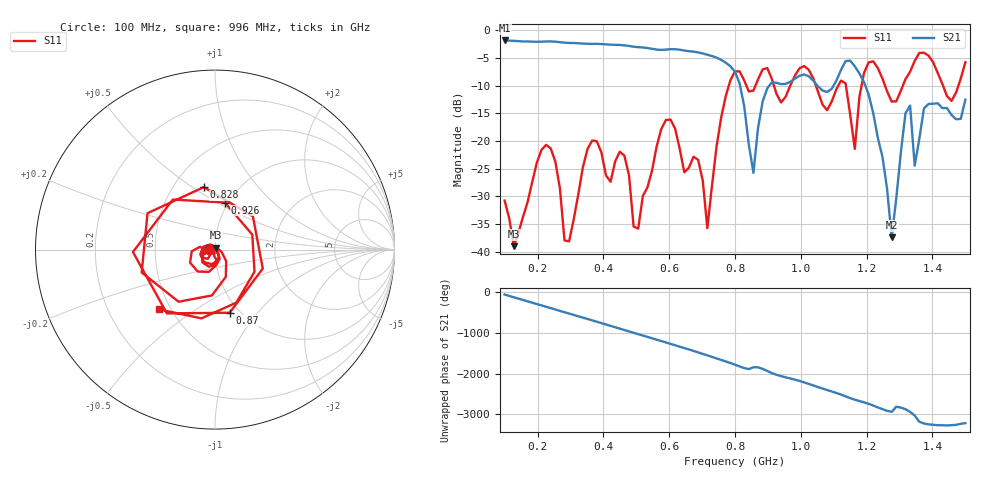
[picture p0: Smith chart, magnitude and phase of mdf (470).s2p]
! NanoVNA-App
! Date: 2025-09-25 15:42:04
! Start: 100MHz Stop: 1,5GHz Points: 101
! S-Parameter data: F S11 S21 S12 S22
# Hz S RI R 50
!  Frequency  S11_Real  S11_Imag  S21_Real  S21_Imag  S12_Real  S12_Imag  S22_Real  S22_Imag
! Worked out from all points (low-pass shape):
!   101 points, 100 MHz to 1.5 GHz, reference 50 ohm
!   highest |S21| = -1.80 dB at 100 MHz (marker M1); lowest = -37.4 dB at 1.276 GHz (marker M2)
!   |S21| within 3 dB of the highest: start of sweep to 739.3 MHz
!   lowest |S11| = -39.0 dB at 128 MHz (marker M3), VSWR 1.02, Z = 50.3 + j1.08 ohm
!   |S11| at or under -10 dB: start of sweep to 781.1 MHz; 1.046 GHz to 1.114 GHz (67.67 MHz wide, 6.27 % of centre); 1.256 GHz to 1.31 GHz (53.84 MHz wide, 4.2 % of centre) (the widest 3 of 7)
!   S12 and S22 are empty: the file has one direction only
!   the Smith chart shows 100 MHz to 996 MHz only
!   S11 on the Smith chart (normalised r, x): 100 MHz: 0.94, -0.01; 828 MHz: 0.70, +0.56; 870 MHz: 0.90, -0.73; 926 MHz: 0.96, +0.54; 996 MHz: 0.43, -0.36
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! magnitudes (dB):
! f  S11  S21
! 100 MHz  -30.7  -1.8
! 128 MHz  -39.0  -1.9
! 212 MHz  -21.6  -2.0
! 282 MHz  -37.9  -2.2
! 338 MHz  -24.7  -2.4
! 464 MHz  -22.6  -2.7
! 506 MHz  -35.8  -3.0
! 576 MHz  -17.8  -3.5
! 716 MHz  -35.7  -4.4
! 800 MHz  -7.4  -7.4
! 828 MHz  -9.0  -13.7
! 856 MHz  -10.9  -25.7
! 870 MHz  -8.8  -17.6
! 926 MHz  -11.4  -9.5
! 996 MHz  -6.8  -8.2
! 1.038 GHz  -8.7  -9.1
! 1.164 GHz  -21.4  -6.5
! 1.192 GHz  -7.7  -9.3
! 1.276 GHz  -12.8  -37.4
! 1.318 GHz  -8.8  -15.0
! 1.346 GHz  -5.5  -24.4
! 1.5 GHz  -5.7  -12.5
